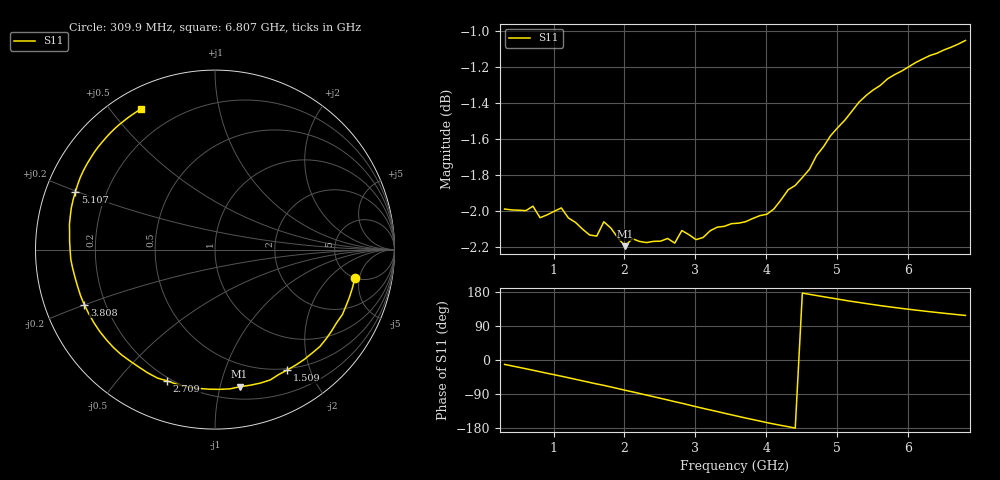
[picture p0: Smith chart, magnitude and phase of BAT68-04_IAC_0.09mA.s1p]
! Infineon Technologies  Discrete & RF Semiconductors
! BAT68-04
! IAC = 0.09 mA
! One-Port S-Parameters
# Hz  S  MA  R  50
!f  S11
!Hz  Mag  Ang
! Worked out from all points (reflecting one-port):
!   66 points, 309.9 MHz to 6.807 GHz, reference 50 ohm
!   lowest |S11| = -2.2 dB at 2.009 GHz (marker M1), VSWR 7.95, Z = 14.9 - j57.5 ohm
!   phase of S11 starts at -12 deg and turns -231 deg over the sweep
!   S11 on the Smith chart (normalised r, x): 309.9 MHz: 4.91, -4.30; 1.509 GHz: 0.48, -1.66; 2.709 GHz: 0.18, -0.68; 3.808 GHz: 0.12, -0.20; 5.107 GHz: 0.09, +0.20; 6.807 GHz: 0.08, +0.60
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3.0985e8  0.7952 -11.7
5.0975e8  0.7947 -19.3
7.0965e8  0.7967 -27.0
1.0095e9  0.7941 -38.8
1.2094e9  0.7907 -46.8
1.50925e9  0.7821 -59.2
1.70915e9  0.7888 -67.0
2.009e9  0.7766 -79.8
2.2089e9  0.779 -88.2
2.4088e9  0.779 -96.8
2.6087e9  0.7804 -105.5
2.70865e9  0.7781 -110.0
2.8086e9  0.7844 -114.1
3.0085e9  0.7798 -123.2
3.2084e9  0.7843 -131.8
3.4083e9  0.7865 -140.5
3.6082e9  0.7881 -148.9
3.8081e9  0.7905 -157.2
4.10795e9  0.7954 -169.0
4.4078e9  0.8074 -179.8
4.70765e9  0.8229 170.2
4.90755e9  0.8335 163.8
5.10745e9  0.8418 157.5
5.2074e9  0.8466 154.6
5.6072e9  0.8607 143.5
6.007e9  0.871 133.9
6.30685e9  0.8773 127.4
6.8066e9  0.8858 117.6
